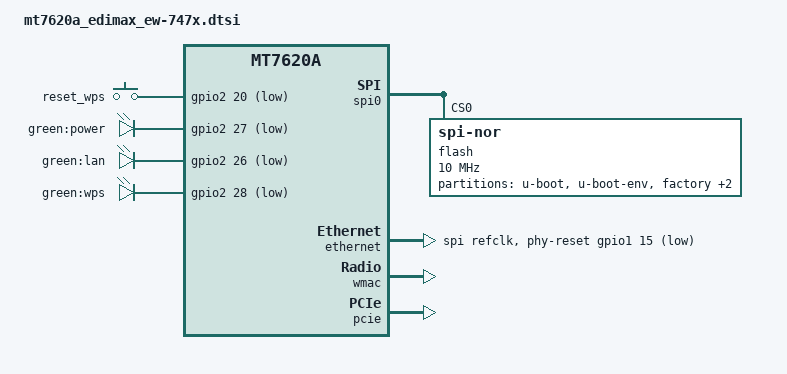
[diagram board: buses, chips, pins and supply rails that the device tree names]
// SPDX-License-Identifier: GPL-2.0-or-later OR MIT

#include "mt7620a.dtsi"

#include <dt-bindings/gpio/gpio.h>
#include <dt-bindings/input/input.h>
#include <dt-bindings/mtd/partitions/uimage.h>

/ {
	compatible = "ralink,mt7620a-soc";

	aliases {
		led-boot = &led_power;
		led-failsafe = &led_power;
		led-running = &led_power;
		led-upgrade = &led_power;
	};

	keys {
		compatible = "gpio-keys";

		reset_wps {
			label = "reset_wps";
			gpios = <&gpio2 20 GPIO_ACTIVE_LOW>;
			linux,code = <KEY_RESTART>;
		};
	};

	leds {
		compatible = "gpio-leds";

		led_power: power {
			label = "green:power";
			gpios = <&gpio2 27 GPIO_ACTIVE_LOW>;
		};

		lan {
			label = "green:lan";
			gpios = <&gpio2 26 GPIO_ACTIVE_LOW>;
		};

		wps {
			label = "green:wps";
			gpios = <&gpio2 28 GPIO_ACTIVE_LOW>;
		};
	};
};

&gpio1 {
	status = "okay";
};

&gpio2 {
	status = "okay";
};

&spi0 {
	status = "okay";

	flash@0 {
		compatible = "jedec,spi-nor";
		reg = <0>;
		spi-max-frequency = <10000000>;

		partitions {
			compatible = "fixed-partitions";
			#address-cells = <1>;
			#size-cells = <1>;

			partition@0 {
				label = "u-boot";
				reg = <0x0 0x30000>;
				read-only;
			};

			partition@30000 {
				label = "u-boot-env";
				reg = <0x30000 0x10000>;
				read-only;
			};

			factory: partition@40000 {
				label = "factory";
				reg = <0x40000 0x10000>;
				read-only;
			};

			partition@50000 {
				label = "cimage";
				reg = <0x50000 0x20000>;
				read-only;
			};

			partition@70000 {
				compatible = "openwrt,uimage", "denx,uimage";
				openwrt,offset = <FW_EDIMAX_OFFSET>;
				openwrt,partition-magic = <FW_MAGIC_EDIMAX>;
				label = "firmware";
				reg = <0x00070000 0x00790000>;
			};
		};
	};
};

&state_default {
	gpio {
		groups = "i2c", "uartf", "nd_sd", "rgmii2";
		function = "gpio";
	};
};

&pinctrl {
	phy_reset_pins: phy-reset {
		gpio {
			groups = "spi refclk";
			function = "gpio";
		};
	};
};

&ethernet {
	pinctrl-names = "default";
	pinctrl-0 = <&rgmii1_pins &mdio_pins &phy_reset_pins>;

	nvmem-cells = <&macaddr_factory_4>;
	nvmem-cell-names = "mac-address";

	phy-reset-gpios = <&gpio1 15 GPIO_ACTIVE_LOW>;
	phy-reset-duration = <30>;

	port@5 {
		status = "okay";
		mediatek,fixed-link = <1000 1 1 1>;
		phy-mode = "rgmii";
	};

	mdio-bus {
		status = "okay";

		phy0: ethernet-phy@0 {
			status = "disabled";
			reg = <0>;
			phy-mode = "rgmii";
		};

		phy1: ethernet-phy@1 {
			status = "disabled";
			reg = <1>;
			phy-mode = "rgmii";
		};

		phy2: ethernet-phy@2 {
			status = "disabled";
			reg = <2>;
			phy-mode = "rgmii";
		};

		phy3: ethernet-phy@3 {
			status = "disabled";
			reg = <3>;
			phy-mode = "rgmii";
		};

		phy4: ethernet-phy@4 {
			status = "disabled";
			reg = <4>;
			phy-mode = "rgmii";
		};
	};
};

&gsw {
	mediatek,ephy-base = /bits/ 8 <8>;
};

&wmac {
	ralink,mtd-eeprom = <&factory 0x0>;
	nvmem-cells = <&macaddr_factory_4>;
	nvmem-cell-names = "mac-address";
};

&pcie {
	status = "okay";
};

&pcie0 {
	wifi@0,0 {
		reg = <0x0000 0 0 0 0>;
		mediatek,mtd-eeprom = <&factory 0x8000>;
		ieee80211-freq-limit = <5000000 6000000>;
		nvmem-cells = <&macaddr_factory_4>;
		nvmem-cell-names = "mac-address";
		mac-address-increment = <2>;
	};
};

&factory {
	compatible = "nvmem-cells";
	#address-cells = <1>;
	#size-cells = <1>;

	macaddr_factory_4: macaddr@4 {
		reg = <0x4 0x6>;
	};
};
